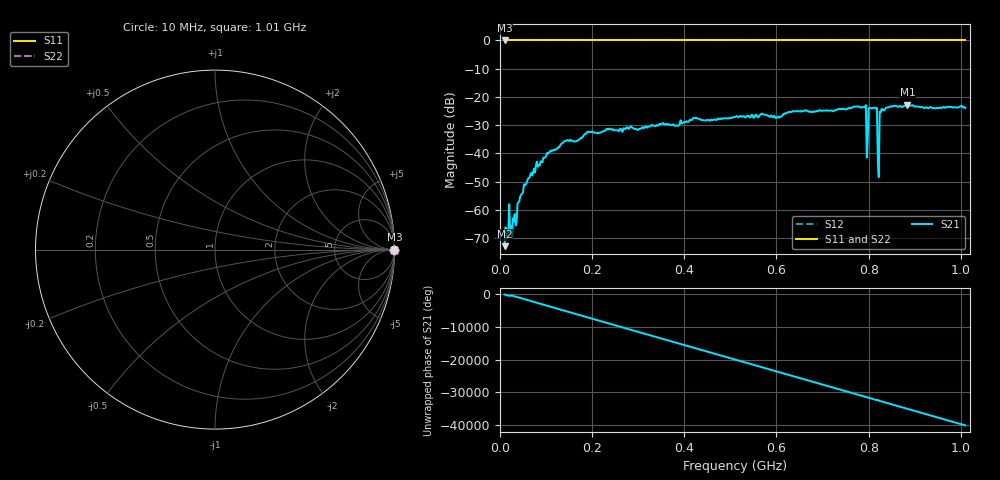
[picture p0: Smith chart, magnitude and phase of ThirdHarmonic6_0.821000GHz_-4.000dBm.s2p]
! 8/16/2025 3:17:09 AM
! C:\ANRITSUVNA\TEMP\TEMP.S2P
! CHANNEL.1
! TR.MEASUREMENT
! RAW.DATA
! RF.CORRECTION.OFF
! AVERAGING.OFF
! IF.BANDWIDTH: 5KHZ
! SWEEPTYPE:  FREQ.SWEEP(Linear)
! Reference Plane Port Info
! PORT:  PORT1  PORT2
! DISTANCE:  0  m  0  m
! TIME:  0  s  0  s
! PHASE.OFFSET:  0  deg.  0  deg.
! LOSS:  0  dB  0  dB
! REF.LOSS:  0  dB  0  dB
! REF.FREQ:  0  Hz  0  Hz
! Power Info
! POWER:  -20  dBm  -20  dBm
! EFF.POWER:  -20  dBm  -20  dBm
! SOURCE.ATTEN:  0  dB  0  dB
! TEST.ATTEN:  0  dB  0  dB
# GHZ S RI R 50.0
! FREQ.GHZ  S11RE  S11IM  S21RE  S21IM  S12RE  S12IM  S22RE  S22IM
!; PortSelection: Port_12
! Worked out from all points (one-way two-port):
!   501 points, 10 MHz to 1.01 GHz, reference 50 ohm
!   highest |S21| = -22.78 dB at 884 MHz (marker M1); lowest = -72.8 dB at 10 MHz (marker M2)
!   lowest |S11| = 0.0 dB at 10 MHz (marker M3)
!   |S11| at or under -10 dB: nowhere
!   |S22| runs from 0.0 to 0.0 dB; largest |S21 - S12| = 1.1
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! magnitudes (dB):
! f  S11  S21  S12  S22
! 10 MHz  0.0  -72.8  0.0  0.0
! 16 MHz  0.0  -68.5  0.0  0.0
! 30 MHz  0.0  -64.0  0.0  0.0
! 42 MHz  0.0  -56.8  0.0  0.0
! 56 MHz  0.0  -51.0  0.0  0.0
! 76 MHz  0.0  -46.8  0.0  0.0
! 142 MHz  0.0  -35.6  0.0  0.0
! 178 MHz  0.0  -34.5  0.0  0.0
! 344 MHz  0.0  -30.1  0.0  0.0
! 510 MHz  0.0  -27.1  0.0  0.0
! 678 MHz  0.0  -25.4  0.0  0.0
! 790 MHz  0.0  -23.6  0.0  0.0
! 794 MHz  0.0  -22.9  0.0  0.0
! 800 MHz  0.0  -24.1  0.0  0.0
! 804 MHz  0.0  -23.9  0.0  0.0
! 814 MHz  0.0  -23.9  0.0  0.0
! 818 MHz  0.0  -23.9  0.0  0.0
! 824 MHz  0.0  -25.2  0.0  0.0
! 828 MHz  0.0  -24.2  0.0  0.0
! 844 MHz  0.0  -23.5  0.0  0.0
! 884 MHz  0.0  -22.8  0.0  0.0
! 1.01 GHz  0.0  -23.9  0.0  0.0
